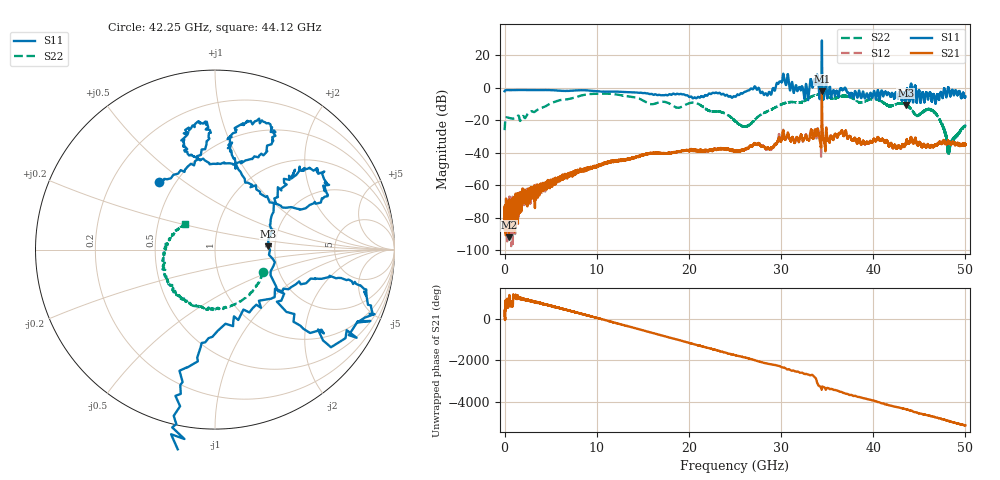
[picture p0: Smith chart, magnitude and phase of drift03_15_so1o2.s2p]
!Created with skrf (http://scikit-rf.org).
# Hz S RI R 50.0
!freq ReS11 ImS11 ReS21 ImS21 ReS12 ImS12 ReS22 ImS22
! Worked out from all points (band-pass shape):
!   10000 points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, 5.3 MHz to 50 GHz, reference 50 ohm
!   highest |S21| = -2.27 dB at 34.43 GHz (marker M1); lowest = -92.2 dB at 490.3 MHz (marker M2)
!   |S21| within 3 dB of the highest: 34.42768 GHz to 34.43454 GHz (6.86 MHz wide, 0.0199 % of centre)
!   lowest |S11| = -10.5 dB at 43.52 GHz (marker M3), VSWR 1.85, Z = 92.3 + j3.71 ohm
!   |S11| at or under -10 dB: 43.5096 GHz to 43.53267 GHz (23.07 MHz wide, 0.053 % of centre)
!   |S22| runs from -41.4 to -3.6 dB; largest |S21 - S12| = 0.25
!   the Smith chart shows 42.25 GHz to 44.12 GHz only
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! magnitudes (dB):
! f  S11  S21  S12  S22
! 5.3 MHz  -2.1  -77.8  -74.3  -26.1
! 490.3 MHz  -1.4  -92.2  -78.8  -18.6
! 2.105 GHz  -1.3  -66.1  -69.0  -17.9
! 8.34 GHz  -1.5  -51.2  -50.5  -4.7
! 16.67 GHz  -4.4  -40.4  -40.2  -9.1
! 20.72 GHz  -6.2  -38.7  -38.7  -9.3
! 25.01 GHz  -5.5  -38.9  -38.9  -20.4
! 26.27 GHz  -2.1  -37.3  -37.6  -23.7
! 28.72 GHz  -2.5  -38.0  -37.6  -14.0
! 30.14 GHz  4.3  -29.4  -29.7  -10.0
! 32.74 GHz  2.0  -29.6  -29.3  -7.3
! 33.34 GHz  2.5  -27.4  -27.7  -5.3
! 33.82 GHz  3.9  -29.2  -29.5  -4.3
! 34.43 GHz  29.2  -2.3  -4.4  -4.0
! 36.49 GHz  -0.1  -27.7  -27.8  -5.2
! 41.67 GHz  -3.3  -35.7  -35.4  -11.0
! 43.52 GHz  -10.5  -34.6  -34.3  -10.2
! 44.74 GHz  -8.7  -34.9  -34.4  -17.1
! 46.64 GHz  -5.0  -36.1  -35.7  -15.1
! 47.52 GHz  -6.4  -33.8  -33.6  -23.4
! 48.22 GHz  -0.5  -33.2  -33.1  -38.1
! 50 GHz  -5.4  -35.0  -34.7  -23.5
